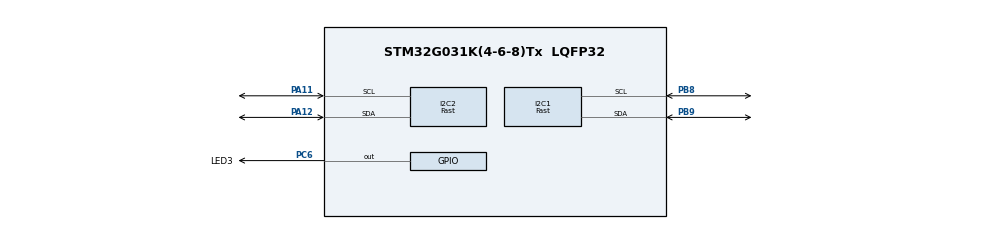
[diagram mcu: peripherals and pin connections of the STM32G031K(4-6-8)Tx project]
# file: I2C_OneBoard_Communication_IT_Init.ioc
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I2C1.AddressingMode=I2C_ADDRESSINGMODE_7BIT
I2C1.Analog_Filter=I2C_ANALOGFILTER_ENABLE
I2C1.CustomTiming=Disabled
I2C1.DualAddressMode=I2C_DUALADDRESS_DISABLE
I2C1.GeneralCallMode=I2C_GENERALCALL_DISABLE
I2C1.I2C_Coeff_DF=0x0
I2C1.I2C_Fall_Time=10
I2C1.I2C_Rise_Time=100
I2C1.I2C_Speed_Mode=I2C_Fast
I2C1.NoStretchMode=I2C_NOSTRETCH_DISABLE
I2C1.OwnAddress=0x5a
I2C1.Speed=400
I2C2.AddressingMode=I2C_ADDRESSINGMODE_7BIT
I2C2.Analog_Filter=I2C_ANALOGFILTER_ENABLE
I2C2.CustomTiming=Disabled
I2C2.DualAddressMode=I2C_DUALADDRESS_DISABLE
I2C2.GeneralCallMode=I2C_GENERALCALL_DISABLE
I2C2.I2C_Coeff_DF=0
I2C2.I2C_Fall_Time=10
I2C2.I2C_Rise_Time=100
I2C2.I2C_Speed_Mode=I2C_Fast
I2C2.NoStretchMode=I2C_NOSTRETCH_DISABLE
I2C2.OwnAddress=0
I2C2.Speed=400
Mcu.Family=STM32G0
Mcu.Name=STM32G031K(4-6-8)Tx
Mcu.Package=LQFP32
PA11\ [PA9].GPIO_Pu=GPIO_PULLUP
PA11\ [PA9].GPIO_Speed=GPIO_SPEED_FREQ_HIGH
PA11\ [PA9].Mode=I2C
PA11\ [PA9].Signal=I2C2_SCL
PA12\ [PA10].GPIO_Pu=GPIO_PULLUP
PA12\ [PA10].GPIO_Speed=GPIO_SPEED_FREQ_HIGH
PA12\ [PA10].Mode=I2C
PA12\ [PA10].Signal=I2C2_SDA
PB8.GPIO_Pu=GPIO_PULLUP
PB8.GPIO_Speed=GPIO_SPEED_FREQ_HIGH
PB8.Mode=I2C
PB8.Signal=I2C1_SCL
PB9.GPIO_Pu=GPIO_PULLUP
PB9.GPIO_Speed=GPIO_SPEED_FREQ_HIGH
PB9.Mode=I2C
PB9.Signal=I2C1_SDA
PC6.GPIO_Label=LED3
PC6.Signal=GPIO_Output
ProjectManager.HeapSize=0x200
ProjectManager.StackSize=0x400
ProjectManager.TargetToolchain=EWARM V8.50
RCC.ADCFreq_Value=64000000
RCC.AHBFreq_Value=64000000
RCC.CortexFreq_Value=64000000
RCC.EXTERNAL_CLOCK_VALUE=48000000
RCC.HCLKFreq_Value=64000000
RCC.HSE_VALUE=8000000
RCC.HSI_VALUE=16000000
RCC.LSE_VALUE=32768
RCC.SYSCLKFreq_VALUE=64000000
RCC.SYSCLKSource=RCC_SYSCLKSOURCE_PLLCLK
RCC.VCOOutputFreq_Value=128000000
board=custom

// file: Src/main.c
/* USER CODE BEGIN Header */
/**
  ******************************************************************************
  * @file    Examples_LL/I2C/I2C_OneBoard_Communication_IT_Init/Src/main.c
  * @author  MCD Application Team
  * @brief   This example describes how to send/receive bytes over I2C IP using
  *          the STM32G0xx I2C LL API.
  *          Peripheral initialization done using LL initialization function.
  ******************************************************************************
  * @attention
  *
  * Copyright (c) 2019-2020 STMicroelectronics.
  * All rights reserved.
  *
  * This software is licensed under terms that can be found in the LICENSE file
  * in the root directory of this software component.
  * If no LICENSE file comes with this software, it is provided AS-IS.
  *
  ******************************************************************************
  */
/* USER CODE END Header */
#include "main.h"

/* USER CODE BEGIN PTD */
LL_I2C_InitTypeDef i2c_initstruct;
/* USER CODE END PTD */

/* USER CODE BEGIN PD */
/**
  * @brief I2C devices settings
  */
#define I2C_TIMING

/**
  * @brief Define related to SlaveTransmit process
  */
#define SLAVE_BYTE_TO_SEND       (uint8_t)0xA5

/* USER CODE END PD */

/* USER CODE BEGIN PV */
__IO uint8_t ubButtonPress       = 0;

/**
  * @brief Variables related to MasterReceive process
  */
uint8_t      aReceiveBuffer[0xF] = {0};
__IO uint8_t ubReceiveIndex      = 0;

/* USER CODE END PV */

void SystemClock_Config(void);
static void MX_GPIO_Init(void);
static void MX_I2C1_Init(void);
static void MX_I2C2_Init(void);
/* USER CODE BEGIN PFP */
void     Configure_EXTI(void);
void     LED_On(void);
void     LED_Off(void);
void     LED_Blinking(uint32_t Period);
void     WaitForUserButtonPress(void);
void     Handle_I2C_Master(void);

/* USER CODE END PFP */

int main(void)
{

  /* MCU Configuration--------------------------------------------------------*/

  /* Reset of all peripherals, Initializes the Flash interface and the Systick. */
  LL_APB2_GRP1_EnableClock(LL_APB2_GRP1_PERIPH_SYSCFG);
  LL_APB1_GRP1_EnableClock(LL_APB1_GRP1_PERIPH_PWR);

  /* Configure the system clock */
  SystemClock_Config();

  /* Initialize all configured peripherals */
  MX_GPIO_Init();
  MX_I2C1_Init();
  MX_I2C2_Init();
  /* USER CODE BEGIN 2 */
  /* Configure the EXTI Line on User Button */
  Configure_EXTI();

  /* Set LED3 Off */
  LED_Off();

  /* Wait for put and remove a jumper between PA.15 (Arduino D2) and GND to start transfer */
  WaitForUserButtonPress();

  /* Handle I2C2 events (Master) */
  Handle_I2C_Master();
  /* USER CODE END 2 */

  /* Infinite loop */
  while (1)
  {

  }
}

void SystemClock_Config(void)
{
  LL_FLASH_SetLatency(LL_FLASH_LATENCY_2);
  while(LL_FLASH_GetLatency() != LL_FLASH_LATENCY_2)
  {
  }

  /* HSI configuration and activation */
  LL_RCC_HSI_Enable();
  while(LL_RCC_HSI_IsReady() != 1)
  {
  }

  /* Main PLL configuration and activation */
  LL_RCC_PLL_ConfigDomain_SYS(LL_RCC_PLLSOURCE_HSI, LL_RCC_PLLM_DIV_1, 8, LL_RCC_PLLR_DIV_2);
  LL_RCC_PLL_Enable();
  LL_RCC_PLL_EnableDomain_SYS();
  while(LL_RCC_PLL_IsReady() != 1)
  {
  }

  /* Set AHB prescaler*/
  LL_RCC_SetAHBPrescaler(LL_RCC_SYSCLK_DIV_1);

  /* Sysclk activation on the main PLL */
  LL_RCC_SetSysClkSource(LL_RCC_SYS_CLKSOURCE_PLL);
  while(LL_RCC_GetSysClkSource() != LL_RCC_SYS_CLKSOURCE_STATUS_PLL)
  {
  }

  /* Set APB1 prescaler*/
  LL_RCC_SetAPB1Prescaler(LL_RCC_APB1_DIV_1);

  LL_Init1msTick(64000000);

  /* Update CMSIS variable (which can be updated also through SystemCoreClockUpdate function) */
  LL_SetSystemCoreClock(64000000);
}

static void MX_I2C1_Init(void)
{

  LL_I2C_InitTypeDef I2C_InitStruct = {0};

  LL_GPIO_InitTypeDef GPIO_InitStruct = {0};

  LL_RCC_SetI2CClockSource(LL_RCC_I2C1_CLKSOURCE_PCLK1);

  LL_IOP_GRP1_EnableClock(LL_IOP_GRP1_PERIPH_GPIOB);
  /**I2C1 GPIO Configuration
  PB9   ------> I2C1_SDA
  PB8   ------> I2C1_SCL
  */
  GPIO_InitStruct.Pin = LL_GPIO_PIN_9;
  GPIO_InitStruct.Mode = LL_GPIO_MODE_ALTERNATE;
  GPIO_InitStruct.Speed = LL_GPIO_SPEED_FREQ_HIGH;
  GPIO_InitStruct.OutputType = LL_GPIO_OUTPUT_OPENDRAIN;
  GPIO_InitStruct.Pull = LL_GPIO_PULL_UP;
  GPIO_InitStruct.Alternate = LL_GPIO_AF_6;
  LL_GPIO_Init(GPIOB, &GPIO_InitStruct);

  GPIO_InitStruct.Pin = LL_GPIO_PIN_8;
  GPIO_InitStruct.Mode = LL_GPIO_MODE_ALTERNATE;
  GPIO_InitStruct.Speed = LL_GPIO_SPEED_FREQ_HIGH;
  GPIO_InitStruct.OutputType = LL_GPIO_OUTPUT_OPENDRAIN;
  GPIO_InitStruct.Pull = LL_GPIO_PULL_UP;
  GPIO_InitStruct.Alternate = LL_GPIO_AF_6;
  LL_GPIO_Init(GPIOB, &GPIO_InitStruct);

  /* Peripheral clock enable */
  LL_APB1_GRP1_EnableClock(LL_APB1_GRP1_PERIPH_I2C1);

  /* USER CODE BEGIN I2C1_Init 1 */
  /* Configure Event and Error IT:
   *  - Set priority for I2C1_IRQn
   *  - Enable I2C1_IRQn
   */
  NVIC_SetPriority(I2C1_IRQn, 0);
  NVIC_EnableIRQ(I2C1_IRQn);
  /* Reset I2C1 data registers */
  if (LL_I2C_DeInit(I2C1) != SUCCESS)
  {
    /* Initialization Error */
    LED_Blinking(LED_BLINK_ERROR);
  }
  /* USER CODE END I2C1_Init 1 */

  /** I2C Initialization
  */
  I2C_InitStruct.PeripheralMode = LL_I2C_MODE_I2C;
  I2C_InitStruct.Timing = 0x00303D5B;
  I2C_InitStruct.AnalogFilter = LL_I2C_ANALOGFILTER_ENABLE;
  I2C_InitStruct.DigitalFilter = 0x0;
  I2C_InitStruct.OwnAddress1 = 180;
  I2C_InitStruct.TypeAcknowledge = LL_I2C_ACK;
  I2C_InitStruct.OwnAddrSize = LL_I2C_OWNADDRESS1_7BIT;
  LL_I2C_Init(I2C1, &I2C_InitStruct);
  LL_I2C_EnableAutoEndMode(I2C1);
  LL_I2C_SetOwnAddress2(I2C1, 0, LL_I2C_OWNADDRESS2_NOMASK);
  LL_I2C_DisableOwnAddress2(I2C1);
  LL_I2C_DisableGeneralCall(I2C1);
  LL_I2C_EnableClockStretching(I2C1);
  /* USER CODE BEGIN I2C1_Init 2 */
  /* Initialize I2C instance according to parameters defined in initialization structure. */
  if (LL_I2C_Init(I2C1, &I2C_InitStruct) != SUCCESS)
  {
    /* Initialization Error */
    LED_Blinking(LED_BLINK_ERROR);
  }

  /* (5) Enable I2C1 address match/error interrupts:
   *  - Enable Address Match Interrupt
   *  - Enable Not acknowledge received interrupt
   *  - Enable Error interrupts
   *  - Enable Stop interrupt
   */
  LL_I2C_EnableIT_ADDR(I2C1);
  LL_I2C_EnableIT_NACK(I2C1);
  LL_I2C_EnableIT_ERR(I2C1);
  LL_I2C_EnableIT_STOP(I2C1);
  /* USER CODE END I2C1_Init 2 */

}

static void MX_I2C2_Init(void)
{

  LL_I2C_InitTypeDef I2C_InitStruct = {0};

  LL_GPIO_InitTypeDef GPIO_InitStruct = {0};

  LL_IOP_GRP1_EnableClock(LL_IOP_GRP1_PERIPH_GPIOA);
  /**I2C2 GPIO Configuration
  PA11 [PA9]   ------> I2C2_SCL
  PA12 [PA10]   ------> I2C2_SDA
  */
  GPIO_InitStruct.Pin = LL_GPIO_PIN_11;
  GPIO_InitStruct.Mode = LL_GPIO_MODE_ALTERNATE;
  GPIO_InitStruct.Speed = LL_GPIO_SPEED_FREQ_HIGH;
  GPIO_InitStruct.OutputType = LL_GPIO_OUTPUT_OPENDRAIN;
  GPIO_InitStruct.Pull = LL_GPIO_PULL_UP;
  GPIO_InitStruct.Alternate = LL_GPIO_AF_6;
  LL_GPIO_Init(GPIOA, &GPIO_InitStruct);

  GPIO_InitStruct.Pin = LL_GPIO_PIN_12;
  GPIO_InitStruct.Mode = LL_GPIO_MODE_ALTERNATE;
  GPIO_InitStruct.Speed = LL_GPIO_SPEED_FREQ_HIGH;
  GPIO_InitStruct.OutputType = LL_GPIO_OUTPUT_OPENDRAIN;
  GPIO_InitStruct.Pull = LL_GPIO_PULL_UP;
  GPIO_InitStruct.Alternate = LL_GPIO_AF_6;
  LL_GPIO_Init(GPIOA, &GPIO_InitStruct);

  /* Peripheral clock enable */
  LL_APB1_GRP1_EnableClock(LL_APB1_GRP1_PERIPH_I2C2);

  /* USER CODE BEGIN I2C2_Init 1 */
  /* Configure Event and Error IT:
   *  - Set priority for I2C2_IRQn
   *  - Enable I2C2_IRQn
   */
  NVIC_SetPriority(I2C2_IRQn, 0);
  NVIC_EnableIRQ(I2C2_IRQn);
  /* Reset I2C2 data registers */
  if (LL_I2C_DeInit(I2C2) != SUCCESS)
  {
    /* Initialization Error */
    LED_Blinking(LED_BLINK_ERROR);
  }
  /* USER CODE END I2C2_Init 1 */

  /** I2C Initialization
  */
  I2C_InitStruct.PeripheralMode = LL_I2C_MODE_I2C;
  I2C_InitStruct.Timing = 0x00303D5B;
  I2C_InitStruct.AnalogFilter = LL_I2C_ANALOGFILTER_ENABLE;
  I2C_InitStruct.DigitalFilter = 0;
  I2C_InitStruct.OwnAddress1 = 0;
  I2C_InitStruct.TypeAcknowledge = LL_I2C_ACK;
  I2C_InitStruct.OwnAddrSize = LL_I2C_OWNADDRESS1_7BIT;
  LL_I2C_Init(I2C2, &I2C_InitStruct);
  LL_I2C_EnableAutoEndMode(I2C2);
  LL_I2C_SetOwnAddress2(I2C2, 0, LL_I2C_OWNADDRESS2_NOMASK);
  LL_I2C_DisableOwnAddress2(I2C2);
  LL_I2C_DisableGeneralCall(I2C2);
  LL_I2C_EnableClockStretching(I2C2);
  /* USER CODE BEGIN I2C2_Init 2 */
  /* Initialize I2C instance according to parameters defined in initialization structure. */
  if (LL_I2C_Init(I2C2, &I2C_InitStruct) != SUCCESS)
  {
    /* Initialization Error */
    LED_Blinking(LED_BLINK_ERROR);
  }

  /* (5) Enable I2C2 transfer complete/error interrupts:
   *  - Enable Receive Interrupt
   *  - Enable Not acknowledge received interrupt
   *  - Enable Error interrupts
   *  - Enable Stop interrupt
   */
  LL_I2C_EnableIT_RX(I2C2);
  LL_I2C_EnableIT_NACK(I2C2);
  LL_I2C_EnableIT_ERR(I2C2);
  LL_I2C_EnableIT_STOP(I2C2);
  /* USER CODE END I2C2_Init 2 */

}

static void MX_GPIO_Init(void)
{
  LL_GPIO_InitTypeDef GPIO_InitStruct = {0};

  /* GPIO Ports Clock Enable */
  LL_IOP_GRP1_EnableClock(LL_IOP_GRP1_PERIPH_GPIOB);
  LL_IOP_GRP1_EnableClock(LL_IOP_GRP1_PERIPH_GPIOC);
  LL_IOP_GRP1_EnableClock(LL_IOP_GRP1_PERIPH_GPIOA);

  /**/
  LL_GPIO_ResetOutputPin(LED3_GPIO_Port, LED3_Pin);

  /**/
  GPIO_InitStruct.Pin = LED3_Pin;
  GPIO_InitStruct.Mode = LL_GPIO_MODE_OUTPUT;
  GPIO_InitStruct.Speed = LL_GPIO_SPEED_FREQ_LOW;
  GPIO_InitStruct.OutputType = LL_GPIO_OUTPUT_PUSHPULL;
  GPIO_InitStruct.Pull = LL_GPIO_PULL_NO;
  LL_GPIO_Init(LED3_GPIO_Port, &GPIO_InitStruct);

}

/* USER CODE BEGIN 4 */
/**
  * @brief  This function configures EXTI Line as Button
  * @note   Peripheral configuration is minimal configuration from reset values.
  * @param  None
  * @retval None
  */
void Configure_EXTI()
{
  /* -1- GPIO Config */
  /* Enable GPIO Clock (to be able to program the configuration registers) */
  VIRTUAL_BUTTON_GPIO_CLK_ENABLE();
  /* Configure IO */
  LL_GPIO_SetPinMode(VIRTUAL_BUTTON_GPIO_PORT, VIRTUAL_BUTTON_PIN, LL_GPIO_MODE_INPUT);
  LL_GPIO_SetPinPull(VIRTUAL_BUTTON_GPIO_PORT, VIRTUAL_BUTTON_PIN, LL_GPIO_PULL_UP);

  /* -2- Connect External Line to the GPIO*/
  VIRTUAL_BUTTON_SYSCFG_SET_EXTI();

  /*-3- Enable a falling trigger External line 15 Interrupt */
  VIRTUAL_BUTTON_EXTI_LINE_ENABLE();
  VIRTUAL_BUTTON_EXTI_RISING_TRIG_ENABLE();

  /*-4- Configure NVIC for EXTI4_15_IRQn */
  NVIC_EnableIRQ(VIRTUAL_BUTTON_EXTI_IRQn);
  NVIC_SetPriority(VIRTUAL_BUTTON_EXTI_IRQn, 0);
}

/**
  * @brief  Turn-on LED3.
  * @param  None
  * @retval None
  */
void LED_On(void)
{
  /* Turn LED3 on */
  LL_GPIO_SetOutputPin(LED3_GPIO_Port, LED3_Pin);
}

/**
  * @brief  Turn-off LED3.
  * @param  None
  * @retval None
  */
void LED_Off(void)
{
  /* Turn LED3 off */
  LL_GPIO_ResetOutputPin(LED3_GPIO_Port, LED3_Pin);
}

/**
  * @brief  Set LED3 to Blinking mode for an infinite loop (toggle period based on value provided as input parameter).
  * @param  Period : Period of time (in ms) between each toggling of LED
  *   This parameter can be user defined values. Pre-defined values used in that example are :
  *     @arg LED_BLINK_FAST : Fast Blinking
  *     @arg LED_BLINK_SLOW : Slow Blinking
  *     @arg LED_BLINK_ERROR : Error specific Blinking
  * @retval None
  */
void LED_Blinking(uint32_t Period)
{
  /* Turn LED3 on */
  LL_GPIO_SetOutputPin(LED3_GPIO_Port, LED3_Pin);

  /* Toggle IO in an infinite loop */
  while (1)
  {
    LL_GPIO_TogglePin(LED3_GPIO_Port, LED3_Pin);
    LL_mDelay(Period);
  }
}

/**
  * @brief  Wait for put and remove a jumper between PA.15 (Arduino D2) and GND to start transfer.
  * @param  None
  * @retval None
  */
/*  */
void WaitForUserButtonPress(void)
{
  while (ubButtonPress == 0)
  {
    LL_GPIO_TogglePin(LED3_GPIO_Port, LED3_Pin);
    LL_mDelay(LED_BLINK_FAST);
  }
  /* Turn LED3 off */
  LL_GPIO_ResetOutputPin(LED3_GPIO_Port, LED3_Pin);
}

/**
  * @brief  This Function handle Master events to perform a reception process
  * @note  This function is composed in one step :
  *        -1- Initiate a Start condition to the Slave device.
  * @param  None
  * @retval None
  */
void Handle_I2C_Master(void)
{
  /* (1) Initiate a Start condition to the Slave device ***********************/

  /* Master Generate Start condition for a read request:
   *  - to the Slave with a 7-Bit SLAVE_OWN_ADDRESS
   *  - with a auto stop condition generation when receive 1 byte
   */
  LL_I2C_HandleTransfer(I2C2, SLAVE_OWN_ADDRESS, LL_I2C_ADDRSLAVE_7BIT, 1, LL_I2C_MODE_AUTOEND, LL_I2C_GENERATE_START_READ);
}

/******************************************************************************/
/*   IRQ HANDLER TREATMENT Functions                                          */
/******************************************************************************/
/**
  * @brief  Function to manage PA.15 (Arduino D2)
  * @param  None
  * @retval None
  */
void UserButton_Callback(void)
{
  /* Update PA.15 (Arduino D2) variable : to be checked in waiting loop in main program */
  ubButtonPress = 1;
}

/**
  * @brief  Function called from I2C IRQ Handler when TXIS flag is set
  *         Function is in charge of transmit a byte on I2C lines.
  * @param  None
  * @retval None
  */
void Slave_Ready_To_Transmit_Callback(void)
{
  /* Send the Byte requested by the Master */
  LL_I2C_TransmitData8(I2C1, SLAVE_BYTE_TO_SEND);
}

/**
  * @brief  Function called from I2C IRQ Handler when RXNE flag is set
  *         Function is in charge of reading byte received on I2C lines.
  * @param  None
  * @retval None
  */
void Master_Reception_Callback(void)
{
  /* Read character in Receive Data register.
  RXNE flag is cleared by reading data in RXDR register */
  aReceiveBuffer[ubReceiveIndex++] = LL_I2C_ReceiveData8(I2C2);
}

/**
  * @brief  Function called from I2C IRQ Handler when STOP flag is set
  *         Function is in charge of checking data received,
  *         LED3 is On if data are correct.
  * @param  None
  * @retval None
  */
void Master_Complete_Callback(void)
{
  /* Read Received character.
  RXNE flag is cleared by reading of RXDR register */
  if (aReceiveBuffer[ubReceiveIndex - 1] == SLAVE_BYTE_TO_SEND)
  {
    /* Turn LED3 On:
     * - Expected byte has been received
     * - Master Rx sequence completed successfully
     */
    LED_On();
  }
  else
  {
    /* Call Error function */
    Error_Callback();
  }
}

/**
  * @brief  Function called in case of error detected in I2C IT Handler
  * @param  None
  * @retval None
  */
void Error_Callback(void)
{
  /* Disable I2C1_IRQn and I2C2_IRQn */
  NVIC_DisableIRQ(I2C1_IRQn);
  NVIC_DisableIRQ(I2C2_IRQn);

  /* Unexpected event : Set LED3 to Blinking mode to indicate error occurs */
  LED_Blinking(LED_BLINK_ERROR);
}

/* USER CODE END 4 */

void Error_Handler(void)
{
}
